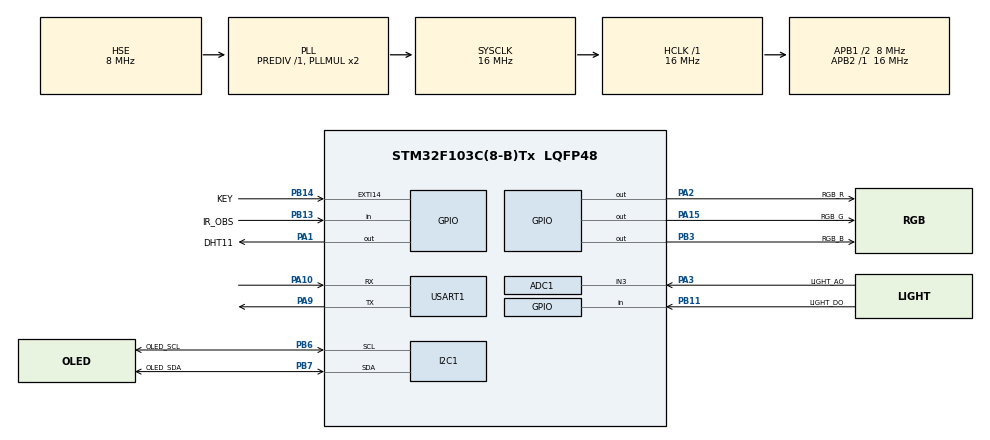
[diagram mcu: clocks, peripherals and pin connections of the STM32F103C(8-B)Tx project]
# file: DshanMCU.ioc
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ADC1.Channel-2\#ChannelRegularConversion=ADC_CHANNEL_3
ADC1.NbrOfConversion=1
ADC1.NbrOfConversionFlag=1
ADC1.Rank-2\#ChannelRegularConversion=1
ADC1.SamplingTime-2\#ChannelRegularConversion=ADC_SAMPLETIME_1CYCLE_5
ADC1.master=1
I2C1.I2C_Mode=I2C_Fast
Mcu.Family=STM32F1
Mcu.Name=STM32F103C(8-B)Tx
Mcu.Package=LQFP48
NVIC.EXTI15_10_IRQn=true\:0\:0\:false\:false\:true\:true\:true\:true
NVIC.PriorityGroup=NVIC_PRIORITYGROUP_4
PA1.GPIO_Label=DHT11
PA1.GPIO_ModeDefaultOutputPP=GPIO_MODE_OUTPUT_PP
PA1.GPIO_PuPd=GPIO_PULLUP
PA1.GPIO_Speed=GPIO_SPEED_FREQ_HIGH
PA1.Signal=GPIO_Output
PA10.Mode=Asynchronous
PA10.Signal=USART1_RX
PA13.Mode=Serial_Wire
PA13.Signal=SYS_JTMS-SWDIO
PA14.Mode=Serial_Wire
PA14.Signal=SYS_JTCK-SWCLK
PA15.GPIO_Label=RGB_G
PA15.PinState=GPIO_PIN_SET
PA15.Signal=GPIO_Output
PA2.GPIO_Label=RGB_R
PA2.PinState=GPIO_PIN_SET
PA2.Signal=GPIO_Output
PA3.GPIO_Label=LIGHT_AO
PA3.Signal=SharedAnalog_PA3
PA9.Mode=Asynchronous
PA9.Signal=USART1_TX
PB11.GPIO_Label=LIGHT_DO
PB11.Signal=GPIO_Input
PB13.GPIO_Label=IR_OBS
PB13.Signal=GPIO_Input
PB14.GPIO_Label=KEY
PB14.GPIO_ModeDefaultEXTI=GPIO_MODE_IT_FALLING
PB14.Signal=GPXTI14
PB3.GPIO_Label=RGB_B
PB3.PinState=GPIO_PIN_SET
PB3.Signal=GPIO_Output
PB6.GPIO_Label=OLED_SCL
PB6.Mode=I2C
PB6.Signal=I2C1_SCL
PB7.GPIO_Label=OLED_SDA
PB7.Mode=I2C
PB7.Signal=I2C1_SDA
PC14-OSC32_IN.Mode=LSE-External-Oscillator
PC14-OSC32_IN.Signal=RCC_OSC32_IN
PC15-OSC32_OUT.Mode=LSE-External-Oscillator
PC15-OSC32_OUT.Signal=RCC_OSC32_OUT
PD0-OSC_IN.Mode=HSE-External-Oscillator
PD0-OSC_IN.Signal=RCC_OSC_IN
PD1-OSC_OUT.Mode=HSE-External-Oscillator
PD1-OSC_OUT.Signal=RCC_OSC_OUT
ProjectManager.HeapSize=0x200
ProjectManager.StackSize=0x400
ProjectManager.TargetToolchain=CMake
RCC.AHBFreq_Value=16000000
RCC.APB1CLKDivider=RCC_HCLK_DIV2
RCC.APB1Freq_Value=8000000
RCC.APB1TimFreq_Value=16000000
RCC.APB2Freq_Value=16000000
RCC.APB2TimFreq_Value=16000000
RCC.HCLKFreq_Value=16000000
RCC.PLLSourceVirtual=RCC_PLLSOURCE_HSE
RCC.SYSCLKFreq_VALUE=16000000
RCC.SYSCLKSource=RCC_SYSCLKSOURCE_PLLCLK
RCC.USBFreq_Value=16000000
SH.SharedAnalog_PA3.0=GPIO_Analog
SH.SharedAnalog_PA3.1=ADC1_IN3,IN3
USART1.VirtualMode=VM_ASYNC
board=custom

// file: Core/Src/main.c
/* USER CODE BEGIN Header */
/**
  ******************************************************************************
  * @file           : main.c
  * @brief          : Main program body
  ******************************************************************************
  * @attention
  *
  * Copyright (c) 2025 STMicroelectronics.
  * All rights reserved.
  *
  * This software is licensed under terms that can be found in the LICENSE file
  * in the root directory of this software component.
  * If no LICENSE file comes with this software, it is provided AS-IS.
  *
  ******************************************************************************
  */
/* USER CODE END Header */
#include "main.h"
#include "adc.h"
#include "i2c.h"
#include "usart.h"
#include "gpio.h"

/* USER CODE BEGIN Includes */
#include <stdio.h>
#include "led.h"
#include "light_sensor.h"
#include "oled.h"
#include "dht11.h"
#include "obstacle.h"
#include "delay.h"
/* USER CODE END Includes */

void SystemClock_Config(void);

/* USER CODE BEGIN 0 */
int _write(int file, char *ptr, int len) { // 重定义printf函数，使能printf通过串口1输出
    HAL_UART_Transmit(&huart1, (uint8_t *)ptr, len, HAL_MAX_DELAY);
    return len;
}
/* USER CODE END 0 */

int main(void)
{

  /* MCU Configuration--------------------------------------------------------*/

  /* Reset of all peripherals, Initializes the Flash interface and the Systick. */
  HAL_Init();

  /* Configure the system clock */
  SystemClock_Config();

  /* Initialize all configured peripherals */
  MX_GPIO_Init();
  MX_ADC1_Init();
  MX_USART1_UART_Init();
  MX_I2C1_Init();
  /* USER CODE BEGIN 2 */
  delay_init();
  OLED_Init();
  OLED_Clear();
  /* USER CODE END 2 */

  /* Infinite loop */
  /* USER CODE BEGIN WHILE */
  DHT11_Data dht;
  while (1) {
    // if (DHT11_ReadData(&dht) == 0) {
    //   float temp = dht.temperature_int + dht.temperature_dec * 0.1f;
    //   float humi = dht.humidity_int + dht.humidity_dec * 0.1f;
    //   OLED_ShowFloat(0, 0, temp, 3, 1, 16); // 显示温度，整数部分3位，小数部分1位
    //   OLED_ShowFloat(0, 2, humi, 3, 1, 16); // 显示湿度，整数部分3位，小数部分1位
    // }
    // else {
    //   OLED_ShowNum(0, 0, DHT11_ReadData(&dht), 2, 16);;
    // }
    DHT11_ReadData(&dht);
    HAL_Delay(500);
    /* USER CODE END WHILE */

  }
}

void SystemClock_Config(void)
{
  RCC_OscInitTypeDef RCC_OscInitStruct = {0};
  RCC_ClkInitTypeDef RCC_ClkInitStruct = {0};
  RCC_PeriphCLKInitTypeDef PeriphClkInit = {0};

  /** Initializes the RCC Oscillators according to the specified parameters
  * in the RCC_OscInitTypeDef structure.
  */
  RCC_OscInitStruct.OscillatorType = RCC_OSCILLATORTYPE_HSE;
  RCC_OscInitStruct.HSEState = RCC_HSE_ON;
  RCC_OscInitStruct.HSEPredivValue = RCC_HSE_PREDIV_DIV1;
  RCC_OscInitStruct.HSIState = RCC_HSI_ON;
  RCC_OscInitStruct.PLL.PLLState = RCC_PLL_ON;
  RCC_OscInitStruct.PLL.PLLSource = RCC_PLLSOURCE_HSE;
  RCC_OscInitStruct.PLL.PLLMUL = RCC_PLL_MUL2;
  if (HAL_RCC_OscConfig(&RCC_OscInitStruct) != HAL_OK)
  {
    Error_Handler();
  }

  /** Initializes the CPU, AHB and APB buses clocks
  */
  RCC_ClkInitStruct.ClockType = RCC_CLOCKTYPE_HCLK|RCC_CLOCKTYPE_SYSCLK
                              |RCC_CLOCKTYPE_PCLK1|RCC_CLOCKTYPE_PCLK2;
  RCC_ClkInitStruct.SYSCLKSource = RCC_SYSCLKSOURCE_PLLCLK;
  RCC_ClkInitStruct.AHBCLKDivider = RCC_SYSCLK_DIV1;
  RCC_ClkInitStruct.APB1CLKDivider = RCC_HCLK_DIV2;
  RCC_ClkInitStruct.APB2CLKDivider = RCC_HCLK_DIV1;

  if (HAL_RCC_ClockConfig(&RCC_ClkInitStruct, FLASH_LATENCY_0) != HAL_OK)
  {
    Error_Handler();
  }
  PeriphClkInit.PeriphClockSelection = RCC_PERIPHCLK_ADC;
  PeriphClkInit.AdcClockSelection = RCC_ADCPCLK2_DIV2;
  if (HAL_RCCEx_PeriphCLKConfig(&PeriphClkInit) != HAL_OK)
  {
    Error_Handler();
  }
}

void Error_Handler(void)
{
  __disable_irq();
  while (1)
  {
  }
}
